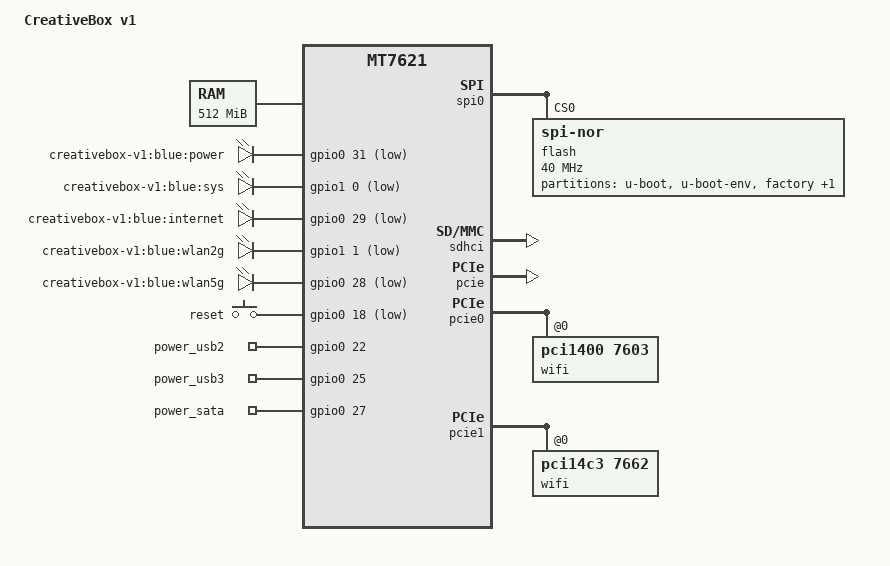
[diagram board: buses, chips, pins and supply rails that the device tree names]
// SPDX-License-Identifier: GPL-2.0-or-later OR MIT
/dts-v1/;

#include "mt7621.dtsi"

#include <dt-bindings/gpio/gpio.h>
#include <dt-bindings/input/input.h>

/ {
	compatible = "xzwifi,creativebox-v1", "mediatek,mt7621-soc";
	model = "CreativeBox v1";

	aliases {
		led-boot = &led_sys;
		led-failsafe = &led_sys;
		led-running = &led_sys;
		led-upgrade = &led_sys;
	};

	memory@0 {
		device_type = "memory";
		reg = <0x0 0x1C000000>,
		      <0x20000000 0x4000000>;
	};

	chosen {
		bootargs = "console=ttyS0,115200";
	};

	leds {
		compatible = "gpio-leds";

		power {
			label = "creativebox-v1:blue:power";
			gpios = <&gpio0 31 GPIO_ACTIVE_LOW>;
			default-state = "on";
		};

		led_sys: sys {
			label = "creativebox-v1:blue:sys";
			gpios = <&gpio1 0 GPIO_ACTIVE_LOW>;
		};

		internet {
			label = "creativebox-v1:blue:internet";
			gpios = <&gpio0 29 GPIO_ACTIVE_LOW>;
		};

		wlan2g {
			label = "creativebox-v1:blue:wlan2g";
			gpios = <&gpio1 1 GPIO_ACTIVE_LOW>;
			linux,default-trigger = "phy0tpt";
		};

		wlan5g {
			label = "creativebox-v1:blue:wlan5g";
			gpios = <&gpio0 28 GPIO_ACTIVE_LOW>;
			linux,default-trigger = "phy1tpt";
		};
	};

	keys {
		compatible = "gpio-keys-polled";
		poll-interval = <20>;

		reset {
			label = "reset";
			gpios = <&gpio0 18 GPIO_ACTIVE_LOW>;
			linux,code = <KEY_RESTART>;
		};
	};

	gpio_export {
		compatible = "gpio-export";
		#size-cells = <0>;

		power_usb2 {
			gpio-export,name = "power_usb2";
			gpio-export,output = <1>;
			gpios = <&gpio0 22 GPIO_ACTIVE_HIGH>;
		};

		power_usb3 {
			gpio-export,name = "power_usb3";
			gpio-export,output = <1>;
			gpios = <&gpio0 25 GPIO_ACTIVE_HIGH>;
		};

		power_sata {
			gpio-export,name = "power_sata";
			gpio-export,output = <1>;
			gpios = <&gpio0 27 GPIO_ACTIVE_HIGH>;
		};
	};
};

&spi0 {
	status = "okay";

	flash@0 {
		compatible = "jedec,spi-nor";
		reg = <0>;
		spi-max-frequency = <40000000>;

		partitions {
			compatible = "fixed-partitions";
			#address-cells = <1>;
			#size-cells = <1>;

			partition@0 {
				label = "u-boot";
				reg = <0x0 0x30000>;
				read-only;
			};

			partition@30000 {
				label = "u-boot-env";
				reg = <0x30000 0x10000>;
				read-only;
			};

			factory: partition@40000 {
				label = "factory";
				reg = <0x40000 0x10000>;
				read-only;
			};

			partition@50000 {
				compatible = "denx,uimage";
				label = "firmware";
				reg = <0x50000 0x1fb0000>;
			};
		};
	};
};

&sdhci {
	status = "okay";
};

&pcie {
	status = "okay";
};

&pcie0 {
	wifi@0,0 {
		compatible = "pci1400,7603";
		reg = <0x0000 0 0 0 0>;
		mediatek,mtd-eeprom = <&factory 0x0000>;
	};
};

&pcie1 {
	wifi@0,0 {
		compatible = "pci14c3,7662";
		reg = <0x0000 0 0 0 0>;
		mediatek,mtd-eeprom = <&factory 0x8000>;
		ieee80211-freq-limit = <5000000 6000000>;
	};
};

&ethernet {
	mtd-mac-address = <&factory 0xe000>;
};

&pinctrl {
	state_default: pinctrl0 {
		gpio {
			ralink,group = "wdt", "rgmii2";
			ralink,function = "gpio";
		};
	};
};
